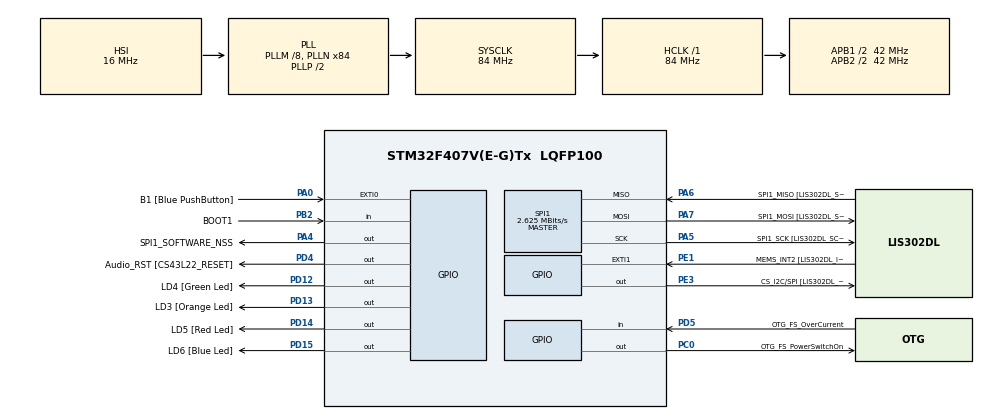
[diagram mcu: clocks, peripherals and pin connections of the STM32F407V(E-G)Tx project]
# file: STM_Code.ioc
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Mcu.Family=STM32F4
Mcu.Name=STM32F407V(E-G)Tx
Mcu.Package=LQFP100
NVIC.EXTI0_IRQn=true\:0\:0\:false\:false\:true\:true\:true\:true
NVIC.PriorityGroup=NVIC_PRIORITYGROUP_0
PA0-WKUP.GPIO_Label=B1 [Blue PushButton]
PA0-WKUP.Signal=GPXTI0
PA10.GPIO_Label=OTG_FS_ID
PA10.GPIO_Mode=GPIO_MODE_AF_PP
PA10.GPIO_PuPd=GPIO_NOPULL
PA10.GPIO_Speed=GPIO_SPEED_FREQ_LOW
PA10.Signal=USB_OTG_FS_ID
PA11.GPIO_Label=OTG_FS_DM
PA11.GPIO_Mode=GPIO_MODE_AF_PP
PA11.GPIO_PuPd=GPIO_NOPULL
PA11.GPIO_Speed=GPIO_SPEED_FREQ_LOW
PA11.Signal=USB_OTG_FS_DM
PA12.GPIO_Label=OTG_FS_DP
PA12.GPIO_Mode=GPIO_MODE_AF_PP
PA12.GPIO_PuPd=GPIO_NOPULL
PA12.GPIO_Speed=GPIO_SPEED_FREQ_LOW
PA12.Signal=USB_OTG_FS_DP
PA13.GPIO_Label=SWDIO
PA13.Signal=SYS_JTMS-SWDIO
PA14.GPIO_Label=SWCLK
PA14.Signal=SYS_JTCK-SWCLK
PA4.GPIO_Label=SPI1_SOFTWARE_NSS
PA4.GPIO_PuPd=GPIO_NOPULL
PA4.PinState=GPIO_PIN_SET
PA4.Signal=GPIO_Output
PA5.GPIO_Label=SPI1_SCK [LIS302DL_SCL/SPC]
PA5.GPIO_Mode=GPIO_MODE_AF_PP
PA5.GPIO_PuPd=GPIO_NOPULL
PA5.GPIO_Speed=GPIO_SPEED_FREQ_LOW
PA5.Mode=Full_Duplex_Master
PA5.Signal=SPI1_SCK
PA6.GPIO_Label=SPI1_MISO [LIS302DL_SDO]
PA6.GPIO_Mode=GPIO_MODE_AF_PP
PA6.GPIO_PuPd=GPIO_NOPULL
PA6.GPIO_Speed=GPIO_SPEED_FREQ_LOW
PA6.Mode=Full_Duplex_Master
PA6.Signal=SPI1_MISO
PA7.GPIO_Label=SPI1_MOSI [LIS302DL_SDA/SDI/SDO]
PA7.GPIO_Mode=GPIO_MODE_AF_PP
PA7.GPIO_PuPd=GPIO_NOPULL
PA7.GPIO_Speed=GPIO_SPEED_FREQ_LOW
PA7.Mode=Full_Duplex_Master
PA7.Signal=SPI1_MOSI
PA9.GPIO_Label=VBUS_FS
PA9.GPIO_Mode=GPIO_MODE_INPUT
PA9.GPIO_PuPd=GPIO_NOPULL
PA9.Signal=USB_OTG_FS_VBUS
PB10.GPIO_Label=CLK_IN [MP45DT02_CLK]
PB10.GPIO_Mode=GPIO_MODE_AF_PP
PB10.GPIO_PuPd=GPIO_NOPULL
PB10.GPIO_Speed=GPIO_SPEED_FREQ_LOW
PB10.Signal=I2S2_CK
PB2.GPIO_Label=BOOT1
PB2.GPIO_Mode=GPIO_MODE_INPUT
PB2.GPIO_PuPd=GPIO_NOPULL
PB2.Signal=GPIO_Input
PB3.GPIO_Label=SWO
PB3.Signal=SYS_JTDO-SWO
PB6.GPIO_Label=Audio_SCL [CS43L22_SCL]
PB6.GPIO_Mode=GPIO_MODE_AF_OD
PB6.GPIO_PuPd=GPIO_NOPULL
PB6.GPIO_Speed=GPIO_SPEED_FREQ_LOW
PB6.Signal=I2C1_SCL
PB9.GPIO_Label=Audio_SDA [CS43L22_SDA]
PB9.GPIO_Mode=GPIO_MODE_AF_OD
PB9.GPIO_PuPd=GPIO_NOPULL
PB9.GPIO_Speed=GPIO_SPEED_FREQ_LOW
PB9.Signal=I2C1_SDA
PC0.GPIO_Label=OTG_FS_PowerSwitchOn
PC0.GPIO_PuPd=GPIO_NOPULL
PC0.GPIO_Speed=GPIO_SPEED_FREQ_LOW
PC0.PinState=GPIO_PIN_SET
PC0.Signal=GPIO_Output
PC10.GPIO_Label=I2S3_SCK [CS43L22_SCLK]
PC10.GPIO_Mode=GPIO_MODE_AF_PP
PC10.GPIO_PuPd=GPIO_NOPULL
PC10.GPIO_Speed=GPIO_SPEED_FREQ_LOW
PC10.Signal=I2S3_CK
PC12.GPIO_Label=I2S3_SD [CS43L22_SDIN]
PC12.GPIO_Mode=GPIO_MODE_AF_PP
PC12.GPIO_PuPd=GPIO_NOPULL
PC12.GPIO_Speed=GPIO_SPEED_FREQ_LOW
PC12.Signal=I2S3_SD
PC14-OSC32_IN.GPIO_Label=PC14-OSC32_IN
PC14-OSC32_IN.Signal=RCC_OSC32_IN
PC15-OSC32_OUT.GPIO_Label=PC15-OSC32_OUT
PC15-OSC32_OUT.Signal=RCC_OSC32_OUT
PC3.GPIO_Label=PDM_OUT [MP45DT02_DOUT]
PC3.GPIO_Mode=GPIO_MODE_AF_PP
PC3.GPIO_PuPd=GPIO_NOPULL
PC3.GPIO_Speed=GPIO_SPEED_FREQ_LOW
PC3.Signal=I2S2_SD
PC7.GPIO_Label=I2S3_MCK [CS43L22_MCLK]
PC7.GPIO_Mode=GPIO_MODE_AF_PP
PC7.GPIO_PuPd=GPIO_NOPULL
PC7.GPIO_Speed=GPIO_SPEED_FREQ_LOW
PC7.Signal=I2S3_MCK
PD12.GPIO_Label=LD4 [Green Led]
PD12.GPIO_PuPd=GPIO_NOPULL
PD12.GPIO_Speed=GPIO_SPEED_FREQ_LOW
PD12.Signal=GPIO_Output
PD13.GPIO_Label=LD3 [Orange Led]
PD13.GPIO_PuPd=GPIO_NOPULL
PD13.GPIO_Speed=GPIO_SPEED_FREQ_LOW
PD13.Signal=GPIO_Output
PD14.GPIO_Label=LD5 [Red Led]
PD14.GPIO_PuPd=GPIO_NOPULL
PD14.GPIO_Speed=GPIO_SPEED_FREQ_LOW
PD14.Signal=GPIO_Output
PD15.GPIO_Label=LD6 [Blue Led]
PD15.GPIO_PuPd=GPIO_NOPULL
PD15.GPIO_Speed=GPIO_SPEED_FREQ_LOW
PD15.Signal=GPIO_Output
PD4.GPIO_Label=Audio_RST [CS43L22_RESET]
PD4.GPIO_PuPd=GPIO_NOPULL
PD4.GPIO_Speed=GPIO_SPEED_FREQ_LOW
PD4.Signal=GPIO_Output
PD5.GPIO_Label=OTG_FS_OverCurrent
PD5.GPIO_Mode=GPIO_MODE_INPUT
PD5.GPIO_PuPd=GPIO_NOPULL
PD5.Signal=GPIO_Input
PE1.GPIO_Label=MEMS_INT2 [LIS302DL_INT2]
PE1.GPIO_ModeDefaultEXTI=GPIO_MODE_EVT_RISING
PE1.GPIO_PuPd=GPIO_NOPULL
PE1.Signal=GPXTI1
PE3.GPIO_Label=CS_I2C/SPI [LIS302DL_CS_I2C/SPI]
PE3.GPIO_PuPd=GPIO_NOPULL
PE3.GPIO_Speed=GPIO_SPEED_FREQ_LOW
PE3.Signal=GPIO_Output
PH0-OSC_IN.GPIO_Label=PH0-OSC_IN
PH0-OSC_IN.Signal=RCC_OSC_IN
PH1-OSC_OUT.GPIO_Label=PH1-OSC_OUT
PH1-OSC_OUT.Signal=RCC_OSC_OUT
ProjectManager.HeapSize=0x200
ProjectManager.StackSize=0x400
ProjectManager.TargetToolchain=CMake
RCC.48MHZClocksFreq_Value=24000000
RCC.AHBFreq_Value=84000000
RCC.APB1CLKDivider=RCC_HCLK_DIV2
RCC.APB1Freq_Value=42000000
RCC.APB1TimFreq_Value=84000000
RCC.APB2CLKDivider=RCC_HCLK_DIV2
RCC.APB2Freq_Value=42000000
RCC.APB2TimFreq_Value=84000000
RCC.CortexFreq_Value=84000000
RCC.HCLKFreq_Value=84000000
RCC.HSE_VALUE=8000000
RCC.HSI_VALUE=16000000
RCC.LSE_VALUE=32768
RCC.PLLM=8
RCC.PLLN=84
RCC.PLLQ=7
RCC.SYSCLKFreq_VALUE=84000000
RCC.SYSCLKSource=RCC_SYSCLKSOURCE_PLLCLK
RCC.VCOOutputFreq_Value=168000000
SPI1.BaudRatePrescaler=SPI_BAUDRATEPRESCALER_16
SPI1.CalculateBaudRate=2.625 MBits/s
SPI1.Direction=SPI_DIRECTION_2LINES
SPI1.Mode=SPI_MODE_MASTER
SPI1.VirtualType=VM_MASTER
board=STM32F407G-DISC1

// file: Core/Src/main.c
/* USER CODE BEGIN Header */
/**
  ******************************************************************************
  * @file           : main.c
  * @brief          : Main program body
  ******************************************************************************
  * @attention
  *
  * Copyright (c) 2024 STMicroelectronics.
  * All rights reserved.
  *
  * This software is licensed under terms that can be found in the LICENSE file
  * in the root directory of this software component.
  * If no LICENSE file comes with this software, it is provided AS-IS.
  *
  ******************************************************************************
  */
/* USER CODE END Header */
#include "main.h"

/* USER CODE BEGIN Includes */
#include <string.h>
/* USER CODE END Includes */

/* USER CODE BEGIN PD */
#define COMMAND_LED_ON    0x50
#define COMMAND_LED_OFF   0x51
/* USER CODE END PD */

SPI_HandleTypeDef hspi1;

/* USER CODE BEGIN PV */
uint8_t button_flag = 0;
uint8_t user_buffer[] = "hello from stm\n";
uint8_t current_task = 0;
uint8_t command_code;
/* USER CODE END PV */

void SystemClock_Config(void);
static void MX_GPIO_Init(void);
static void MX_SPI1_Init(void);
/* USER CODE BEGIN PFP */
void SPI_SendChar(uint8_t *pUserBuff);
void SPI_Send_Command(uint8_t *command_code);
/* USER CODE END PFP */

int main(void)
{

  /* MCU Configuration--------------------------------------------------------*/

  /* Reset of all peripherals, Initializes the Flash interface and the Systick. */
  HAL_Init();

  /* Configure the system clock */
  SystemClock_Config();

  /* Initialize all configured peripherals */
  MX_GPIO_Init();
  MX_SPI1_Init();
  /* USER CODE BEGIN 2 */
  uint8_t dummy_byte = 0x00;
  HAL_SPI_Transmit(&hspi1, &dummy_byte, 1, HAL_MAX_DELAY);
  /* USER CODE END 2 */

  /* Infinite loop */
  while(1)
  {
  /* USER CODE BEGIN WHILE */
    if (button_flag == ENABLE)
    {
      if (current_task == 0)
      {
        HAL_GPIO_WritePin(GPIOA, GPIO_PIN_4, GPIO_PIN_RESET);
        HAL_SPI_Transmit(&hspi1, user_buffer, strlen((char*)user_buffer)-1, HAL_MAX_DELAY);
        HAL_GPIO_WritePin(GPIOA, GPIO_PIN_4, GPIO_PIN_SET);
        current_task += 1;
      }else if (current_task == 1)
      {
        command_code = COMMAND_LED_ON;
        HAL_GPIO_WritePin(GPIOA, GPIO_PIN_4, GPIO_PIN_RESET);
        HAL_SPI_Transmit(&hspi1, &command_code, 1, HAL_MAX_DELAY);
        HAL_GPIO_WritePin(GPIOA, GPIO_PIN_4, GPIO_PIN_SET);
      }
      button_flag = DISABLE;
    }
    /* USER CODE END WHILE */
  }

}

void SystemClock_Config(void)
{
  RCC_OscInitTypeDef RCC_OscInitStruct = {0};
  RCC_ClkInitTypeDef RCC_ClkInitStruct = {0};

  /** Configure the main internal regulator output voltage
  */
  __HAL_RCC_PWR_CLK_ENABLE();
  __HAL_PWR_VOLTAGESCALING_CONFIG(PWR_REGULATOR_VOLTAGE_SCALE1);

  /** Initializes the RCC Oscillators according to the specified parameters
  * in the RCC_OscInitTypeDef structure.
  */
  RCC_OscInitStruct.OscillatorType = RCC_OSCILLATORTYPE_HSI;
  RCC_OscInitStruct.HSIState = RCC_HSI_ON;
  RCC_OscInitStruct.HSICalibrationValue = RCC_HSICALIBRATION_DEFAULT;
  RCC_OscInitStruct.PLL.PLLState = RCC_PLL_ON;
  RCC_OscInitStruct.PLL.PLLSource = RCC_PLLSOURCE_HSI;
  RCC_OscInitStruct.PLL.PLLM = 8;
  RCC_OscInitStruct.PLL.PLLN = 84;
  RCC_OscInitStruct.PLL.PLLP = RCC_PLLP_DIV2;
  RCC_OscInitStruct.PLL.PLLQ = 7;
  if (HAL_RCC_OscConfig(&RCC_OscInitStruct) != HAL_OK)
  {
    Error_Handler();
  }

  /** Initializes the CPU, AHB and APB buses clocks
  */
  RCC_ClkInitStruct.ClockType = RCC_CLOCKTYPE_HCLK|RCC_CLOCKTYPE_SYSCLK
                              |RCC_CLOCKTYPE_PCLK1|RCC_CLOCKTYPE_PCLK2;
  RCC_ClkInitStruct.SYSCLKSource = RCC_SYSCLKSOURCE_PLLCLK;
  RCC_ClkInitStruct.AHBCLKDivider = RCC_SYSCLK_DIV1;
  RCC_ClkInitStruct.APB1CLKDivider = RCC_HCLK_DIV2;
  RCC_ClkInitStruct.APB2CLKDivider = RCC_HCLK_DIV2;

  if (HAL_RCC_ClockConfig(&RCC_ClkInitStruct, FLASH_LATENCY_2) != HAL_OK)
  {
    Error_Handler();
  }
}

static void MX_SPI1_Init(void)
{

  /* SPI1 parameter configuration*/
  hspi1.Instance = SPI1;
  hspi1.Init.Mode = SPI_MODE_MASTER;
  hspi1.Init.Direction = SPI_DIRECTION_2LINES;
  hspi1.Init.DataSize = SPI_DATASIZE_8BIT;
  hspi1.Init.CLKPolarity = SPI_POLARITY_LOW;
  hspi1.Init.CLKPhase = SPI_PHASE_1EDGE;
  hspi1.Init.NSS = SPI_NSS_SOFT;
  hspi1.Init.BaudRatePrescaler = SPI_BAUDRATEPRESCALER_16;
  hspi1.Init.FirstBit = SPI_FIRSTBIT_MSB;
  hspi1.Init.TIMode = SPI_TIMODE_DISABLE;
  hspi1.Init.CRCCalculation = SPI_CRCCALCULATION_DISABLE;
  hspi1.Init.CRCPolynomial = 10;
  if (HAL_SPI_Init(&hspi1) != HAL_OK)
  {
    Error_Handler();
  }

}

static void MX_GPIO_Init(void)
{
  GPIO_InitTypeDef GPIO_InitStruct = {0};

  /* GPIO Ports Clock Enable */
  __HAL_RCC_GPIOE_CLK_ENABLE();
  __HAL_RCC_GPIOC_CLK_ENABLE();
  __HAL_RCC_GPIOH_CLK_ENABLE();
  __HAL_RCC_GPIOA_CLK_ENABLE();
  __HAL_RCC_GPIOB_CLK_ENABLE();
  __HAL_RCC_GPIOD_CLK_ENABLE();

  /*Configure GPIO pin Output Level */
  HAL_GPIO_WritePin(CS_I2C_SPI_GPIO_Port, CS_I2C_SPI_Pin, GPIO_PIN_RESET);

  /*Configure GPIO pin Output Level */
  HAL_GPIO_WritePin(OTG_FS_PowerSwitchOn_GPIO_Port, OTG_FS_PowerSwitchOn_Pin, GPIO_PIN_SET);

  /*Configure GPIO pin Output Level */
  HAL_GPIO_WritePin(SPI1_SOFTWARE_NSS_GPIO_Port, SPI1_SOFTWARE_NSS_Pin, GPIO_PIN_SET);

  /*Configure GPIO pin Output Level */
  HAL_GPIO_WritePin(GPIOD, LD4_Pin|LD3_Pin|LD5_Pin|LD6_Pin
                          |Audio_RST_Pin, GPIO_PIN_RESET);

  /*Configure GPIO pin : CS_I2C_SPI_Pin */
  GPIO_InitStruct.Pin = CS_I2C_SPI_Pin;
  GPIO_InitStruct.Mode = GPIO_MODE_OUTPUT_PP;
  GPIO_InitStruct.Pull = GPIO_NOPULL;
  GPIO_InitStruct.Speed = GPIO_SPEED_FREQ_LOW;
  HAL_GPIO_Init(CS_I2C_SPI_GPIO_Port, &GPIO_InitStruct);

  /*Configure GPIO pin : OTG_FS_PowerSwitchOn_Pin */
  GPIO_InitStruct.Pin = OTG_FS_PowerSwitchOn_Pin;
  GPIO_InitStruct.Mode = GPIO_MODE_OUTPUT_PP;
  GPIO_InitStruct.Pull = GPIO_NOPULL;
  GPIO_InitStruct.Speed = GPIO_SPEED_FREQ_LOW;
  HAL_GPIO_Init(OTG_FS_PowerSwitchOn_GPIO_Port, &GPIO_InitStruct);

  /*Configure GPIO pin : PDM_OUT_Pin */
  GPIO_InitStruct.Pin = PDM_OUT_Pin;
  GPIO_InitStruct.Mode = GPIO_MODE_AF_PP;
  GPIO_InitStruct.Pull = GPIO_NOPULL;
  GPIO_InitStruct.Speed = GPIO_SPEED_FREQ_LOW;
  GPIO_InitStruct.Alternate = GPIO_AF5_SPI2;
  HAL_GPIO_Init(PDM_OUT_GPIO_Port, &GPIO_InitStruct);

  /*Configure GPIO pin : B1_Pin */
  GPIO_InitStruct.Pin = B1_Pin;
  GPIO_InitStruct.Mode = GPIO_MODE_IT_RISING;
  GPIO_InitStruct.Pull = GPIO_NOPULL;
  HAL_GPIO_Init(B1_GPIO_Port, &GPIO_InitStruct);

  /*Configure GPIO pin : SPI1_SOFTWARE_NSS_Pin */
  GPIO_InitStruct.Pin = SPI1_SOFTWARE_NSS_Pin;
  GPIO_InitStruct.Mode = GPIO_MODE_OUTPUT_PP;
  GPIO_InitStruct.Pull = GPIO_NOPULL;
  GPIO_InitStruct.Speed = GPIO_SPEED_FREQ_LOW;
  HAL_GPIO_Init(SPI1_SOFTWARE_NSS_GPIO_Port, &GPIO_InitStruct);

  /*Configure GPIO pin : BOOT1_Pin */
  GPIO_InitStruct.Pin = BOOT1_Pin;
  GPIO_InitStruct.Mode = GPIO_MODE_INPUT;
  GPIO_InitStruct.Pull = GPIO_NOPULL;
  HAL_GPIO_Init(BOOT1_GPIO_Port, &GPIO_InitStruct);

  /*Configure GPIO pin : CLK_IN_Pin */
  GPIO_InitStruct.Pin = CLK_IN_Pin;
  GPIO_InitStruct.Mode = GPIO_MODE_AF_PP;
  GPIO_InitStruct.Pull = GPIO_NOPULL;
  GPIO_InitStruct.Speed = GPIO_SPEED_FREQ_LOW;
  GPIO_InitStruct.Alternate = GPIO_AF5_SPI2;
  HAL_GPIO_Init(CLK_IN_GPIO_Port, &GPIO_InitStruct);

  /*Configure GPIO pins : LD4_Pin LD3_Pin LD5_Pin LD6_Pin
                           Audio_RST_Pin */
  GPIO_InitStruct.Pin = LD4_Pin|LD3_Pin|LD5_Pin|LD6_Pin
                          |Audio_RST_Pin;
  GPIO_InitStruct.Mode = GPIO_MODE_OUTPUT_PP;
  GPIO_InitStruct.Pull = GPIO_NOPULL;
  GPIO_InitStruct.Speed = GPIO_SPEED_FREQ_LOW;
  HAL_GPIO_Init(GPIOD, &GPIO_InitStruct);

  /*Configure GPIO pins : I2S3_MCK_Pin I2S3_SCK_Pin I2S3_SD_Pin */
  GPIO_InitStruct.Pin = I2S3_MCK_Pin|I2S3_SCK_Pin|I2S3_SD_Pin;
  GPIO_InitStruct.Mode = GPIO_MODE_AF_PP;
  GPIO_InitStruct.Pull = GPIO_NOPULL;
  GPIO_InitStruct.Speed = GPIO_SPEED_FREQ_LOW;
  GPIO_InitStruct.Alternate = GPIO_AF6_SPI3;
  HAL_GPIO_Init(GPIOC, &GPIO_InitStruct);

  /*Configure GPIO pin : VBUS_FS_Pin */
  GPIO_InitStruct.Pin = VBUS_FS_Pin;
  GPIO_InitStruct.Mode = GPIO_MODE_INPUT;
  GPIO_InitStruct.Pull = GPIO_NOPULL;
  HAL_GPIO_Init(VBUS_FS_GPIO_Port, &GPIO_InitStruct);

  /*Configure GPIO pins : OTG_FS_ID_Pin OTG_FS_DM_Pin OTG_FS_DP_Pin */
  GPIO_InitStruct.Pin = OTG_FS_ID_Pin|OTG_FS_DM_Pin|OTG_FS_DP_Pin;
  GPIO_InitStruct.Mode = GPIO_MODE_AF_PP;
  GPIO_InitStruct.Pull = GPIO_NOPULL;
  GPIO_InitStruct.Speed = GPIO_SPEED_FREQ_LOW;
  GPIO_InitStruct.Alternate = GPIO_AF10_OTG_FS;
  HAL_GPIO_Init(GPIOA, &GPIO_InitStruct);

  /*Configure GPIO pin : OTG_FS_OverCurrent_Pin */
  GPIO_InitStruct.Pin = OTG_FS_OverCurrent_Pin;
  GPIO_InitStruct.Mode = GPIO_MODE_INPUT;
  GPIO_InitStruct.Pull = GPIO_NOPULL;
  HAL_GPIO_Init(OTG_FS_OverCurrent_GPIO_Port, &GPIO_InitStruct);

  /*Configure GPIO pins : Audio_SCL_Pin Audio_SDA_Pin */
  GPIO_InitStruct.Pin = Audio_SCL_Pin|Audio_SDA_Pin;
  GPIO_InitStruct.Mode = GPIO_MODE_AF_OD;
  GPIO_InitStruct.Pull = GPIO_NOPULL;
  GPIO_InitStruct.Speed = GPIO_SPEED_FREQ_LOW;
  GPIO_InitStruct.Alternate = GPIO_AF4_I2C1;
  HAL_GPIO_Init(GPIOB, &GPIO_InitStruct);

  /*Configure GPIO pin : MEMS_INT2_Pin */
  GPIO_InitStruct.Pin = MEMS_INT2_Pin;
  GPIO_InitStruct.Mode = GPIO_MODE_EVT_RISING;
  GPIO_InitStruct.Pull = GPIO_NOPULL;
  HAL_GPIO_Init(MEMS_INT2_GPIO_Port, &GPIO_InitStruct);

  /* EXTI interrupt init*/
  HAL_NVIC_SetPriority(EXTI0_IRQn, 0, 0);
  HAL_NVIC_EnableIRQ(EXTI0_IRQn);

}

/* USER CODE BEGIN 4 */

void HAL_GPIO_EXTI_Callback(uint16_t GPIO_Pin)
{
  if (GPIO_Pin == GPIO_PIN_0)
  {
    button_flag = 1;
  }
}

/* USER CODE END 4 */

void Error_Handler(void)
{
  __disable_irq();
  while (1)
  {
  }
}
